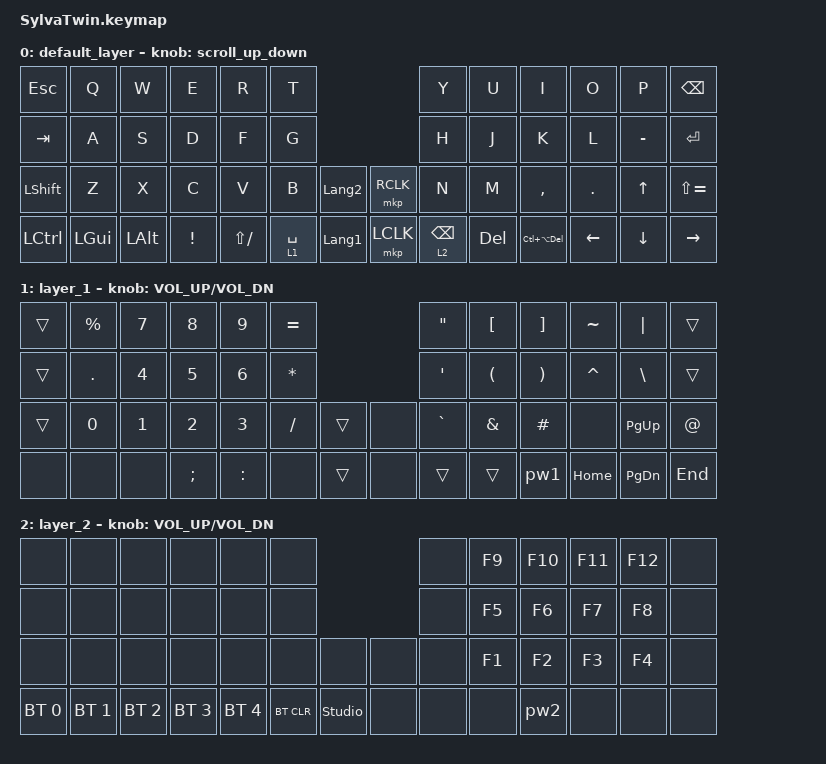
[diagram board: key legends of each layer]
/*
 * Copyright (c) 2020 The ZMK Contributors
 *
 * SPDX-License-Identifier: MIT
 */
// #define ZMK_MOUSE_DEFAULT_SCRL_VAL 150

#include <behaviors.dtsi>
#include <dt-bindings/zmk/bt.h>
#include <dt-bindings/zmk/keys.h>
#include <dt-bindings/zmk/pointing.h>

/ {
    combos {
        compatible = "zmk,combos";

        RightClick2 {
            bindings = <&mkp RCLK>;
            key-positions = <31 45>;
        };

        paste {
            bindings = <&kp LC(V)>;
            key-positions = <42 28>;
        };

        CtrlC {
            bindings = <&kp LC(C)>;
            key-positions = <41 27>;
        };

        pastevalue {
            bindings = <&kp LS(LC(V))>;
            key-positions = <16 28 42>;
        };

        pasteformula {
            bindings = <&pasteformula>;
            key-positions = <29 28 27>;
        };

        CtrlZ {
            bindings = <&kp LC(Z)>;
            key-positions = <39 25>;
        };

        CtrlX {
            bindings = <&kp LC(X)>;
            key-positions = <40 26>;
        };

        CtrlB {
            bindings = <&kp LC(B)>;
            key-positions = <29 43>;
        };

        CtrlA {
            bindings = <&kp LC(A)>;
            key-positions = <25 13>;
        };

        CtrlS {
            bindings = <&kp LC(S)>;
            key-positions = <14 26>;
        };

        CtrlF {
            bindings = <&kp LC(F)>;
            key-positions = <16 28>;
        };

        CtrlW {
            bindings = <&kp LC(W)>;
            key-positions = <2 14>;
        };

        CtrlR {
            bindings = <&kp LC(R)>;
            key-positions = <4 16>;
        };

        CtrlH {
            bindings = <&kp LC(H)>;
            key-positions = <18 32>;
        };

        CtrlY {
            bindings = <&kp LC(Y)>;
            key-positions = <6 18>;
        };

        CtrlT {
            bindings = <&kp LC(T)>;
            key-positions = <5 17>;
        };

        CtrlPagedown {
            bindings = <&kp LC(PAGE_DOWN)>;
            key-positions = <37 51>;
        };

        CtrlPageUp {
            bindings = <&kp LC(PAGE_UP)>;
            key-positions = <36 50>;
        };

        CtrlShiftL {
            bindings = <&kp LS(LC(L))>;
            key-positions = <21 35>;
        };

        CtrlG {
            bindings = <&kp LC(G)>;
            key-positions = <29 17>;
        };

        CtrlAltPageup {
            bindings = <&kp LC(LA(PAGE_UP))>;
            key-positions = <34 48>;
        };

        CtrlAltPagedown {
            bindings = <&kp LC(LA(PAGE_DOWN))>;
            key-positions = <35 49>;
        };
    };

    behaviors {
        scroll_up_down: behavior_sensor_rotate_mouse_wheel_up_down {
            compatible = "zmk,behavior-sensor-rotate";
            #sensor-binding-cells = <0>;
            bindings = <&msc SCRL_UP>, <&msc SCRL_DOWN>;

            tap-ms = <120>;
        };
    };

    macros {
        pw1: pw {
            compatible = "zmk,behavior-macro";
            #binding-cells = <0>;
            bindings = <&kp LS(U) &kp J &kp C &kp DOT &kp N3 &kp N0 &kp N7 &kp N0 &kp EXCL>;
            label = "PW";
        };

        pasteformula: pasteformula {
            compatible = "zmk,behavior-macro";
            #binding-cells = <0>;
            bindings = <&kp LC(LA(V)) &kp F &kp ENTER>;
            label = "PASTEFORMULA";
        };

        pw2: pw2 {
            compatible = "zmk,behavior-macro";
            #binding-cells = <0>;
            bindings = <&kp B &kp R &kp A &kp B &kp R &kp A>;
            label = "PW2";
        };
    };

    keymap {
        compatible = "zmk,keymap";

        default_layer {
            bindings = <
&kp ESC     &kp Q     &kp W     &kp E            &kp R          &kp T                                   &kp Y            &kp U       &kp I            &kp O     &kp P      &kp BACKSPACE
&kp TAB     &kp A     &kp S     &kp D            &kp F          &kp G                                   &kp H            &kp J       &kp K            &kp L     &kp MINUS  &kp ENTER
&kp LSHIFT  &kp Z     &kp X     &kp C            &kp V          &kp B        &kp LANGUAGE_2  &mkp RCLK  &kp N            &kp M       &kp COMMA        &kp DOT   &kp UP     &kp LS(EQUAL)
&kp LCTRL   &kp LGUI  &kp LALT  &kp EXCLAMATION  &kp LS(SLASH)  &lt 1 SPACE  &kp LANGUAGE_1  &mkp LCLK  &lt 2 BACKSPACE  &kp DELETE  &kp LC(LA(DEL))  &kp LEFT  &kp DOWN   &kp RIGHT
            >;

            sensor-bindings = <&scroll_up_down>;
        };

        layer_1 {
            bindings = <
&trans  &kp PERCENT   &kp NUMBER_7  &kp NUMBER_8  &kp NUMBER_9  &kp EQUAL                 &kp DOUBLE_QUOTES  &kp LEFT_BRACKET      &kp RIGHT_BRACKET      &kp TILDE  &kp PIPE       &trans
&trans  &kp DOT       &kp NUMBER_4  &kp NUMBER_5  &kp NUMBER_6  &kp ASTRK                 &kp SINGLE_QUOTE   &kp LEFT_PARENTHESIS  &kp RIGHT_PARENTHESIS  &kp CARET  &kp BACKSLASH  &trans
&trans  &kp NUMBER_0  &kp NUMBER_1  &kp NUMBER_2  &kp NUMBER_3  &kp SLASH  &trans  &none  &kp GRAVE          &kp AMPERSAND         &kp HASH               &none      &kp PG_UP      &kp AT
&none   &none         &none         &kp SEMI      &kp COLON     &none      &trans  &none  &trans             &trans                &pw1                   &kp HOME   &kp PAGE_DOWN  &kp END
            >;

            sensor-bindings = <&inc_dec_kp C_VOL_UP C_VOL_DN>;
        };

        layer_2 {
            bindings = <
&none         &none         &none         &none         &none         &none                              &none  &kp F9  &kp F10  &kp F11  &kp F12  &none
&none         &none         &none         &none         &none         &none                              &none  &kp F5  &kp F6   &kp F7   &kp F8   &none
&none         &none         &none         &none         &none         &none       &none           &none  &none  &kp F1  &kp F2   &kp F3   &kp F4   &none
&bt BT_SEL 0  &bt BT_SEL 1  &bt BT_SEL 2  &bt BT_SEL 3  &bt BT_SEL 4  &bt BT_CLR  &studio_unlock  &none  &none  &none   &pw2     &none    &none    &none
            >;

            sensor-bindings = <&inc_dec_kp C_VOL_UP C_VOL_DN>;
        };
    };
};
